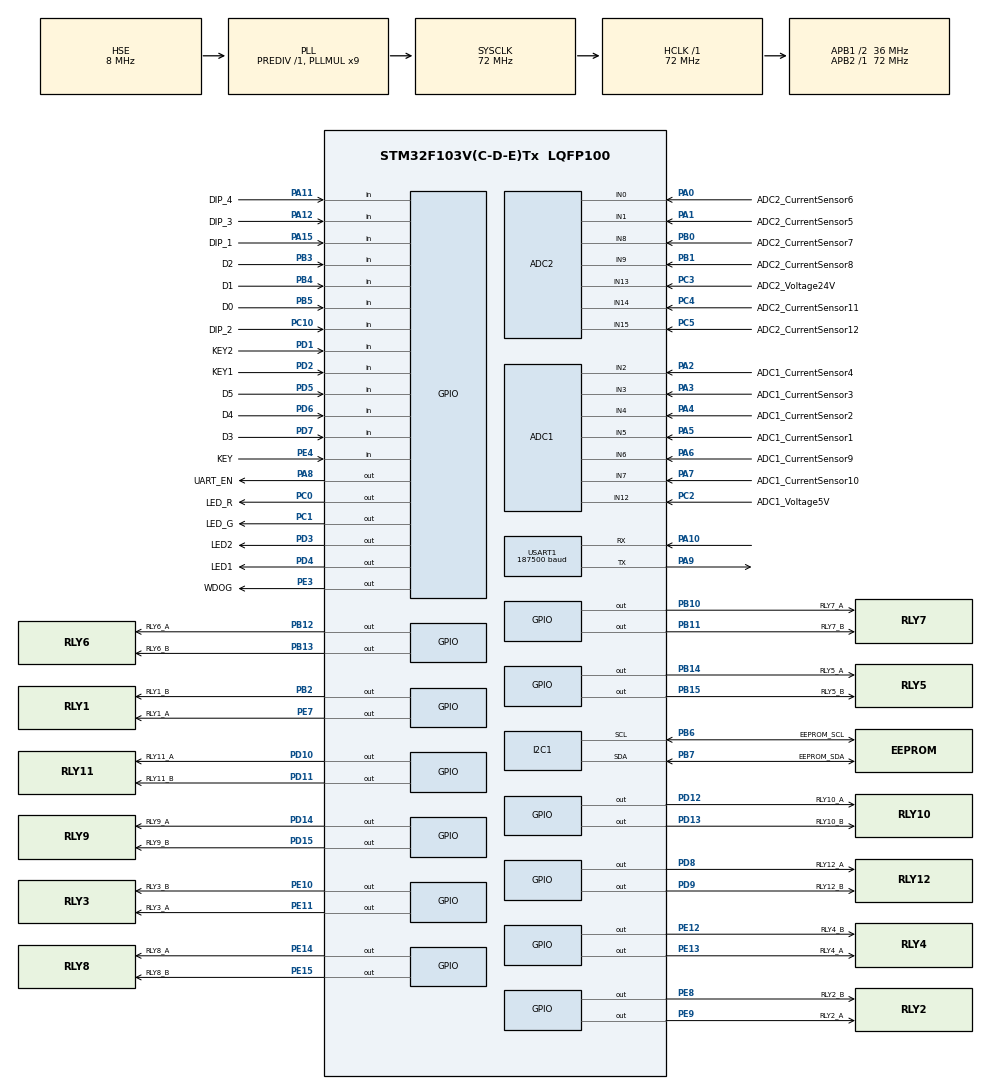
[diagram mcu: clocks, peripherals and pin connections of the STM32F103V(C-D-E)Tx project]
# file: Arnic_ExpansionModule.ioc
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ADC1.Channel-0\#ChannelRegularConversion=ADC_CHANNEL_2
ADC1.Channel-1\#ChannelRegularConversion=ADC_CHANNEL_3
ADC1.Channel-2\#ChannelRegularConversion=ADC_CHANNEL_4
ADC1.Channel-3\#ChannelRegularConversion=ADC_CHANNEL_5
ADC1.Channel-4\#ChannelRegularConversion=ADC_CHANNEL_6
ADC1.Channel-5\#ChannelRegularConversion=ADC_CHANNEL_7
ADC1.Channel-6\#ChannelRegularConversion=ADC_CHANNEL_12
ADC1.ExternalTrigConv=ADC_EXTERNALTRIGCONV_T3_TRGO
ADC1.Mode=ADC_DUALMODE_REGSIMULT
ADC1.NbrOfConversion=7
ADC1.NbrOfConversionFlag=1
ADC1.Rank-0\#ChannelRegularConversion=1
ADC1.Rank-1\#ChannelRegularConversion=2
ADC1.Rank-2\#ChannelRegularConversion=3
ADC1.Rank-3\#ChannelRegularConversion=4
ADC1.Rank-4\#ChannelRegularConversion=5
ADC1.Rank-5\#ChannelRegularConversion=6
ADC1.Rank-6\#ChannelRegularConversion=7
ADC1.SamplingTime-0\#ChannelRegularConversion=ADC_SAMPLETIME_55CYCLES_5
ADC1.SamplingTime-1\#ChannelRegularConversion=ADC_SAMPLETIME_55CYCLES_5
ADC1.SamplingTime-2\#ChannelRegularConversion=ADC_SAMPLETIME_55CYCLES_5
ADC1.SamplingTime-3\#ChannelRegularConversion=ADC_SAMPLETIME_55CYCLES_5
ADC1.SamplingTime-4\#ChannelRegularConversion=ADC_SAMPLETIME_55CYCLES_5
ADC1.SamplingTime-5\#ChannelRegularConversion=ADC_SAMPLETIME_55CYCLES_5
ADC1.SamplingTime-6\#ChannelRegularConversion=ADC_SAMPLETIME_239CYCLES_5
ADC1.master=1
ADC2.Channel-0\#ChannelRegularConversion=ADC_CHANNEL_0
ADC2.Channel-1\#ChannelRegularConversion=ADC_CHANNEL_1
ADC2.Channel-2\#ChannelRegularConversion=ADC_CHANNEL_8
ADC2.Channel-3\#ChannelRegularConversion=ADC_CHANNEL_9
ADC2.Channel-4\#ChannelRegularConversion=ADC_CHANNEL_14
ADC2.Channel-5\#ChannelRegularConversion=ADC_CHANNEL_15
ADC2.Channel-6\#ChannelRegularConversion=ADC_CHANNEL_13
ADC2.Mode=ADC_DUALMODE_REGSIMULT
ADC2.NbrOfConversion=7
ADC2.NbrOfConversionFlag=1
ADC2.Rank-0\#ChannelRegularConversion=1
ADC2.Rank-1\#ChannelRegularConversion=2
ADC2.Rank-2\#ChannelRegularConversion=3
ADC2.Rank-3\#ChannelRegularConversion=4
ADC2.Rank-4\#ChannelRegularConversion=5
ADC2.Rank-5\#ChannelRegularConversion=6
ADC2.Rank-6\#ChannelRegularConversion=7
ADC2.SamplingTime-0\#ChannelRegularConversion=ADC_SAMPLETIME_55CYCLES_5
ADC2.SamplingTime-1\#ChannelRegularConversion=ADC_SAMPLETIME_55CYCLES_5
ADC2.SamplingTime-2\#ChannelRegularConversion=ADC_SAMPLETIME_55CYCLES_5
ADC2.SamplingTime-3\#ChannelRegularConversion=ADC_SAMPLETIME_55CYCLES_5
ADC2.SamplingTime-4\#ChannelRegularConversion=ADC_SAMPLETIME_55CYCLES_5
ADC2.SamplingTime-5\#ChannelRegularConversion=ADC_SAMPLETIME_55CYCLES_5
ADC2.SamplingTime-6\#ChannelRegularConversion=ADC_SAMPLETIME_239CYCLES_5
Dma.ADC1.0.Direction=DMA_PERIPH_TO_MEMORY
Dma.ADC1.0.Instance=DMA1_Channel1
Dma.ADC1.0.MemDataAlignment=DMA_MDATAALIGN_WORD
Dma.ADC1.0.MemInc=DMA_MINC_ENABLE
Dma.ADC1.0.Mode=DMA_CIRCULAR
Dma.ADC1.0.PeriphDataAlignment=DMA_PDATAALIGN_WORD
Dma.ADC1.0.PeriphInc=DMA_PINC_DISABLE
Dma.ADC1.0.Priority=DMA_PRIORITY_HIGH
Dma.Request0=ADC1
Dma.Request1=USART1_RX
Dma.Request2=USART1_TX
Dma.USART1_RX.1.Direction=DMA_PERIPH_TO_MEMORY
Dma.USART1_RX.1.Instance=DMA1_Channel5
Dma.USART1_RX.1.MemDataAlignment=DMA_MDATAALIGN_BYTE
Dma.USART1_RX.1.MemInc=DMA_MINC_ENABLE
Dma.USART1_RX.1.Mode=DMA_CIRCULAR
Dma.USART1_RX.1.PeriphDataAlignment=DMA_PDATAALIGN_BYTE
Dma.USART1_RX.1.PeriphInc=DMA_PINC_DISABLE
Dma.USART1_RX.1.Priority=DMA_PRIORITY_LOW
Dma.USART1_TX.2.Direction=DMA_MEMORY_TO_PERIPH
Dma.USART1_TX.2.Instance=DMA1_Channel4
Dma.USART1_TX.2.MemDataAlignment=DMA_MDATAALIGN_BYTE
Dma.USART1_TX.2.MemInc=DMA_MINC_ENABLE
Dma.USART1_TX.2.Mode=DMA_NORMAL
Dma.USART1_TX.2.PeriphDataAlignment=DMA_PDATAALIGN_BYTE
Dma.USART1_TX.2.PeriphInc=DMA_PINC_DISABLE
Dma.USART1_TX.2.Priority=DMA_PRIORITY_LOW
FREERTOS.Tasks01=defaultTask,40,256,StartDefaultTask,Default,NULL,Dynamic,NULL,NULL
FREERTOS.configCHECK_FOR_STACK_OVERFLOW=2
FREERTOS.configENABLE_FPU=1
FREERTOS.configTOTAL_HEAP_SIZE=15360
FREERTOS.configUSE_NEWLIB_REENTRANT=1
I2C1.I2C_Mode=I2C_Standard
Mcu.Family=STM32F1
Mcu.Name=STM32F103V(C-D-E)Tx
Mcu.Package=LQFP100
NVIC.DMA1_Channel1_IRQn=true\:5\:0\:false\:false\:true\:true\:false\:true\:true
NVIC.DMA1_Channel4_IRQn=true\:5\:0\:false\:false\:true\:true\:false\:true\:true
NVIC.DMA1_Channel5_IRQn=true\:5\:0\:false\:false\:true\:true\:false\:true\:true
NVIC.PriorityGroup=NVIC_PRIORITYGROUP_4
NVIC.TIM6_IRQn=true\:15\:0\:false\:false\:true\:false\:false\:true\:true
NVIC.TimeBase=TIM6_IRQn
NVIC.TimeBaseIP=TIM6
NVIC.USART1_IRQn=true\:5\:0\:false\:false\:true\:true\:true\:true\:true
OSC_IN.Mode=HSE-External-Oscillator
OSC_IN.Signal=RCC_OSC_IN
OSC_OUT.Mode=HSE-External-Oscillator
OSC_OUT.Signal=RCC_OSC_OUT
PA0-WKUP.GPIO_Label=ADC2_CurrentSensor6
PA0-WKUP.Signal=ADCx_IN0
PA1.GPIO_Label=ADC2_CurrentSensor5
PA1.Signal=ADCx_IN1
PA10.Mode=Asynchronous
PA10.Signal=USART1_RX
PA11.GPIO_Label=DIP_4
PA11.Signal=GPIO_Input
PA12.GPIO_Label=DIP_3
PA12.Signal=GPIO_Input
PA13.GPIO_Label=SWDIO
PA13.Mode=Serial_Wire
PA13.Signal=SYS_JTMS-SWDIO
PA14.GPIO_Label=SWCLK
PA14.Mode=Serial_Wire
PA14.Signal=SYS_JTCK-SWCLK
PA15.GPIO_Label=DIP_1
PA15.Signal=GPIO_Input
PA2.GPIO_Label=ADC1_CurrentSensor4
PA2.Signal=ADCx_IN2
PA3.GPIO_Label=ADC1_CurrentSensor3
PA3.Signal=ADCx_IN3
PA4.GPIO_Label=ADC1_CurrentSensor2
PA4.Signal=ADCx_IN4
PA5.GPIO_Label=ADC1_CurrentSensor1
PA5.Signal=ADCx_IN5
PA6.GPIO_Label=ADC1_CurrentSensor9
PA6.Signal=ADCx_IN6
PA7.GPIO_Label=ADC1_CurrentSensor10
PA7.Signal=ADCx_IN7
PA8.GPIO_Label=UART_EN
PA8.Signal=GPIO_Output
PA9.Mode=Asynchronous
PA9.Signal=USART1_TX
PB0.GPIO_Label=ADC2_CurrentSensor7
PB0.Signal=ADCx_IN8
PB1.GPIO_Label=ADC2_CurrentSensor8
PB1.Signal=ADCx_IN9
PB10.GPIO_Label=RLY7_A
PB10.Signal=GPIO_Output
PB11.GPIO_Label=RLY7_B
PB11.Signal=GPIO_Output
PB12.GPIO_Label=RLY6_A
PB12.Signal=GPIO_Output
PB13.GPIO_Label=RLY6_B
PB13.Signal=GPIO_Output
PB14.GPIO_Label=RLY5_A
PB14.Signal=GPIO_Output
PB15.GPIO_Label=RLY5_B
PB15.Signal=GPIO_Output
PB2.GPIO_Label=RLY1_B
PB2.Signal=GPIO_Output
PB3.GPIO_Label=D2
PB3.Signal=GPIO_Input
PB4.GPIO_Label=D1
PB4.Signal=GPIO_Input
PB5.GPIO_Label=D0
PB5.Signal=GPIO_Input
PB6.GPIO_Label=EEPROM_SCL
PB6.Mode=I2C
PB6.Signal=I2C1_SCL
PB7.GPIO_Label=EEPROM_SDA
PB7.Mode=I2C
PB7.Signal=I2C1_SDA
PC0.GPIO_Label=LED_R
PC0.Signal=GPIO_Output
PC1.GPIO_Label=LED_G
PC1.Signal=GPIO_Output
PC10.GPIO_Label=DIP_2
PC10.Signal=GPIO_Input
PC2.GPIO_Label=ADC1_Voltage5V
PC2.Signal=ADCx_IN12
PC3.GPIO_Label=ADC2_Voltage24V
PC3.Signal=ADCx_IN13
PC4.GPIO_Label=ADC2_CurrentSensor11
PC4.Signal=ADCx_IN14
PC5.GPIO_Label=ADC2_CurrentSensor12
PC5.Signal=ADCx_IN15
PD1.GPIO_Label=KEY2
PD1.Signal=GPIO_Input
PD10.GPIO_Label=RLY11_A
PD10.Signal=GPIO_Output
PD11.GPIO_Label=RLY11_B
PD11.Signal=GPIO_Output
PD12.GPIO_Label=RLY10_A
PD12.Signal=GPIO_Output
PD13.GPIO_Label=RLY10_B
PD13.Signal=GPIO_Output
PD14.GPIO_Label=RLY9_A
PD14.Signal=GPIO_Output
PD15.GPIO_Label=RLY9_B
PD15.Signal=GPIO_Output
PD2.GPIO_Label=KEY1
PD2.Signal=GPIO_Input
PD3.GPIO_Label=LED2
PD3.Signal=GPIO_Output
PD4.GPIO_Label=LED1
PD4.Signal=GPIO_Output
PD5.GPIO_Label=D5
PD5.Signal=GPIO_Input
PD6.GPIO_Label=D4
PD6.Signal=GPIO_Input
PD7.GPIO_Label=D3
PD7.Signal=GPIO_Input
PD8.GPIO_Label=RLY12_A
PD8.Signal=GPIO_Output
PD9.GPIO_Label=RLY12_B
PD9.Signal=GPIO_Output
PE10.GPIO_Label=RLY3_B
PE10.Signal=GPIO_Output
PE11.GPIO_Label=RLY3_A
PE11.Signal=GPIO_Output
PE12.GPIO_Label=RLY4_B
PE12.Signal=GPIO_Output
PE13.GPIO_Label=RLY4_A
PE13.Signal=GPIO_Output
PE14.GPIO_Label=RLY8_A
PE14.Signal=GPIO_Output
PE15.GPIO_Label=RLY8_B
PE15.Signal=GPIO_Output
PE3.GPIO_Label=WDOG
PE3.Signal=GPIO_Output
PE4.GPIO_Label=KEY
PE4.Signal=GPIO_Input
PE7.GPIO_Label=RLY1_A
PE7.Signal=GPIO_Output
PE8.GPIO_Label=RLY2_B
PE8.Signal=GPIO_Output
PE9.GPIO_Label=RLY2_A
PE9.Signal=GPIO_Output
ProjectManager.HeapSize=0x200
ProjectManager.StackSize=0x400
ProjectManager.TargetToolchain=STM32CubeIDE
RCC.ADCPresc=RCC_ADCPCLK2_DIV6
RCC.AHBFreq_Value=72000000
RCC.APB1CLKDivider=RCC_HCLK_DIV2
RCC.APB1Freq_Value=36000000
RCC.APB1TimFreq_Value=72000000
RCC.APB2Freq_Value=72000000
RCC.APB2TimFreq_Value=72000000
RCC.EnbaleCSS=true
RCC.HCLKFreq_Value=72000000
RCC.PLLMUL=RCC_PLL_MUL9
RCC.PLLSourceVirtual=RCC_PLLSOURCE_HSE
RCC.SYSCLKFreq_VALUE=72000000
RCC.SYSCLKSource=RCC_SYSCLKSOURCE_PLLCLK
RCC.USBFreq_Value=72000000
SH.ADCx_IN0.0=ADC2_IN0,IN0
SH.ADCx_IN1.0=ADC2_IN1,IN1
SH.ADCx_IN12.0=ADC1_IN12,IN12
SH.ADCx_IN13.0=ADC2_IN13,IN13
SH.ADCx_IN14.0=ADC2_IN14,IN14
SH.ADCx_IN15.0=ADC2_IN15,IN15
SH.ADCx_IN2.0=ADC1_IN2,IN2
SH.ADCx_IN3.0=ADC1_IN3,IN3
SH.ADCx_IN4.0=ADC1_IN4,IN4
SH.ADCx_IN5.0=ADC1_IN5,IN5
SH.ADCx_IN6.0=ADC1_IN6,IN6
SH.ADCx_IN7.0=ADC1_IN7,IN7
SH.ADCx_IN8.0=ADC2_IN8,IN8
SH.ADCx_IN9.0=ADC2_IN9,IN9
TIM3.Period=124
TIM3.Prescaler=71
TIM3.TIM_MasterOutputTrigger=TIM_TRGO_UPDATE
USART1.BaudRate=187500
USART1.VirtualMode=VM_ASYNC
VP_FREERTOS_VS_CMSIS_V2.Mode=CMSIS_V2
VP_SYS_VS_tim6.Mode=TIM6
VP_TIM3_VS_ClockSourceINT.Mode=Internal
board=custom

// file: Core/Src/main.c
/* USER CODE BEGIN Header */
/**
  ******************************************************************************
  * @file           : main.c
  * @brief          : Main program body
  ******************************************************************************
  * @attention
  *
  * Copyright (c) 2026 STMicroelectronics.
  * All rights reserved.
  *
  * This software is licensed under terms that can be found in the LICENSE file
  * in the root directory of this software component.
  * If no LICENSE file comes with this software, it is provided AS-IS.
  *
  ******************************************************************************
  */
/* USER CODE END Header */
#include "main.h"
#include "cmsis_os.h"
#include "adc.h"
#include "dma.h"
#include "i2c.h"
#include "tim.h"
#include "usart.h"
#include "gpio.h"

void SystemClock_Config(void);
void MX_FREERTOS_Init(void);

/* USER CODE BEGIN 0 */
extern uint32_t g_pfnVectors[];   /* startup file: the application's vector table */
/* USER CODE END 0 */

int main(void)
{

  /* USER CODE BEGIN 1 */
  SCB->VTOR = (uint32_t)g_pfnVectors;   /* 0x08004000: the bootloader sits below */
  /* USER CODE END 1 */

  /* MCU Configuration--------------------------------------------------------*/

  /* Reset of all peripherals, Initializes the Flash interface and the Systick. */
  HAL_Init();

  /* Configure the system clock */
  SystemClock_Config();

  /* Initialize all configured peripherals */
  MX_GPIO_Init();
  MX_DMA_Init();
  MX_ADC1_Init();
  MX_ADC2_Init();
  MX_TIM3_Init();
  MX_USART1_UART_Init();
  MX_I2C1_Init();

  /* Init scheduler */
  osKernelInitialize();  /* Call init function for freertos objects (in cmsis_os2.c) */
  MX_FREERTOS_Init();

  /* Start scheduler */
  osKernelStart();

  /* We should never get here as control is now taken by the scheduler */

  /* Infinite loop */
  while (1)
  {

  }
}

void SystemClock_Config(void)
{
  RCC_OscInitTypeDef RCC_OscInitStruct = {0};
  RCC_ClkInitTypeDef RCC_ClkInitStruct = {0};
  RCC_PeriphCLKInitTypeDef PeriphClkInit = {0};

  /** Initializes the RCC Oscillators according to the specified parameters
  * in the RCC_OscInitTypeDef structure.
  */
  RCC_OscInitStruct.OscillatorType = RCC_OSCILLATORTYPE_HSE;
  RCC_OscInitStruct.HSEState = RCC_HSE_ON;
  RCC_OscInitStruct.HSEPredivValue = RCC_HSE_PREDIV_DIV1;
  RCC_OscInitStruct.HSIState = RCC_HSI_ON;
  RCC_OscInitStruct.PLL.PLLState = RCC_PLL_ON;
  RCC_OscInitStruct.PLL.PLLSource = RCC_PLLSOURCE_HSE;
  RCC_OscInitStruct.PLL.PLLMUL = RCC_PLL_MUL9;
  if (HAL_RCC_OscConfig(&RCC_OscInitStruct) != HAL_OK)
  {
    Error_Handler();
  }

  /** Initializes the CPU, AHB and APB buses clocks
  */
  RCC_ClkInitStruct.ClockType = RCC_CLOCKTYPE_HCLK|RCC_CLOCKTYPE_SYSCLK
                              |RCC_CLOCKTYPE_PCLK1|RCC_CLOCKTYPE_PCLK2;
  RCC_ClkInitStruct.SYSCLKSource = RCC_SYSCLKSOURCE_PLLCLK;
  RCC_ClkInitStruct.AHBCLKDivider = RCC_SYSCLK_DIV1;
  RCC_ClkInitStruct.APB1CLKDivider = RCC_HCLK_DIV2;
  RCC_ClkInitStruct.APB2CLKDivider = RCC_HCLK_DIV1;

  if (HAL_RCC_ClockConfig(&RCC_ClkInitStruct, FLASH_LATENCY_2) != HAL_OK)
  {
    Error_Handler();
  }
  PeriphClkInit.PeriphClockSelection = RCC_PERIPHCLK_ADC;
  PeriphClkInit.AdcClockSelection = RCC_ADCPCLK2_DIV6;
  if (HAL_RCCEx_PeriphCLKConfig(&PeriphClkInit) != HAL_OK)
  {
    Error_Handler();
  }

  /** Enables the Clock Security System
  */
  HAL_RCC_EnableCSS();
}

void HAL_TIM_PeriodElapsedCallback(TIM_HandleTypeDef *htim)
{
  if (htim->Instance == TIM6)
  {
    HAL_IncTick();
  }
}

void Error_Handler(void)
{
  __disable_irq();
  while (1)
  {
  }
}

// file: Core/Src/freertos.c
/* USER CODE BEGIN Header */
/**
  ******************************************************************************
  * File Name          : freertos.c
  * Description        : Code for freertos applications
  ******************************************************************************
  * @attention
  *
  * Copyright (c) 2026 STMicroelectronics.
  * All rights reserved.
  *
  * This software is licensed under terms that can be found in the LICENSE file
  * in the root directory of this software component.
  * If no LICENSE file comes with this software, it is provided AS-IS.
  *
  ******************************************************************************
  */
/* USER CODE END Header */

#include "FreeRTOS.h"
#include "task.h"
#include "main.h"
#include "cmsis_os.h"

/* USER CODE BEGIN Includes */
#include "app_shared.h"
#include "exp_tasks.h"
/* USER CODE END Includes */

/* USER CODE BEGIN Variables */
/* LinkTask (RS485) runs inside defaultTask; see StartDefaultTask(). */
osThreadId_t LinkTaskHandle;

osThreadId_t RelayTaskHandle;
static const osThreadAttr_t RelayTask_attributes = {
  .name = "RelayTask",
  .stack_size = 256 * 4,
  .priority = (osPriority_t) osPriorityAboveNormal,
};

osThreadId_t MeasureTaskHandle;
static const osThreadAttr_t MeasureTask_attributes = {
  .name = "MeasureTask",
  .stack_size = 384 * 4,
  .priority = (osPriority_t) osPriorityNormal,
};

osThreadId_t SupervisorTaskHandle;
static const osThreadAttr_t SupervisorTask_attributes = {
  .name = "SupervisorTask",
  .stack_size = 128 * 4,
  .priority = (osPriority_t) osPriorityHigh,
};

osMessageQueueId_t relay_cmd_qHandle;
/* USER CODE END Variables */
/* Definitions for defaultTask */
osThreadId_t defaultTaskHandle;
const osThreadAttr_t defaultTask_attributes = {
  .name = "defaultTask",
  .stack_size = 256 * 4,
  .priority = (osPriority_t) osPriorityHigh,
};

void StartDefaultTask(void *argument);

void MX_FREERTOS_Init(void); /* (MISRA C 2004 rule 8.1) */

/* Hook prototypes */
void vApplicationStackOverflowHook(xTaskHandle xTask, signed char *pcTaskName);

/* USER CODE BEGIN 4 */
void vApplicationStackOverflowHook(xTaskHandle xTask, signed char *pcTaskName)
{
   /* Run time stack overflow checking is performed if
   configCHECK_FOR_STACK_OVERFLOW is defined to 1 or 2. This hook function is
   called if a stack overflow is detected. */
}
/* USER CODE END 4 */

void MX_FREERTOS_Init(void) {

  /* USER CODE BEGIN RTOS_QUEUES */
  relay_cmd_qHandle = osMessageQueueNew(8, sizeof(relay_cmd_t), NULL);
  /* USER CODE END RTOS_QUEUES */

  /* Create the thread(s) */
  /* creation of defaultTask */
  defaultTaskHandle = osThreadNew(StartDefaultTask, NULL, &defaultTask_attributes);

  /* USER CODE BEGIN RTOS_THREADS */
  RelayTaskHandle      = osThreadNew(RelayTask_Run,      NULL, &RelayTask_attributes);
  MeasureTaskHandle    = osThreadNew(MeasureTask_Run,    NULL, &MeasureTask_attributes);
  SupervisorTaskHandle = osThreadNew(SupervisorTask_Run, NULL, &SupervisorTask_attributes);
  /* USER CODE END RTOS_THREADS */

}

void StartDefaultTask(void *argument)
{
  /* USER CODE BEGIN StartDefaultTask */
  /* defaultTask is LinkTask: the RS485 slave (rs485_slave.c). */
  LinkTaskHandle = osThreadGetId();
  Rs485Slave_Run(argument);     /* never returns */
  for(;;)
  {
    osDelay(1000);
  }
  /* USER CODE END StartDefaultTask */
}
